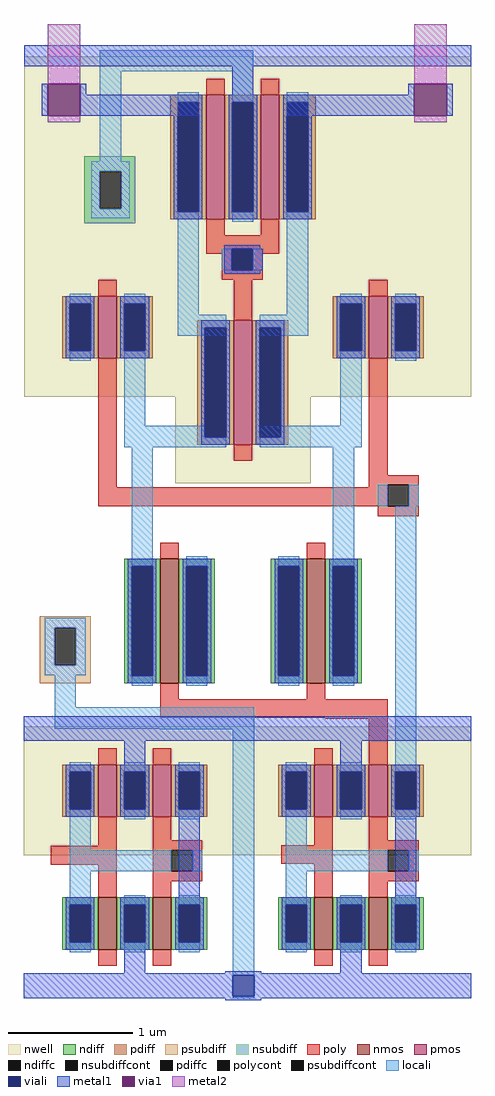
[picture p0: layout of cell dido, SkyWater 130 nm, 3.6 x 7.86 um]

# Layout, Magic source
magic
tech sky130A
magscale 1 2
<< nwell >>
rect -199 0 0 324
rect 19 0 262 1
rect 306 0 521 324
rect -199 -224 -174 0
rect 44 -39 262 0
rect 44 -208 46 -39
rect 480 -224 521 0
rect -200 -962 -174 -754
rect 132 -962 174 -754
rect 480 -962 521 -754
<< psubdiff >>
rect -174 -596 -92 -577
rect -174 -656 -150 -596
rect -116 -656 -92 -596
rect -174 -685 -92 -656
<< nsubdiff >>
rect -102 139 -20 163
rect -102 79 -77 139
rect -43 79 -20 139
rect -102 55 -20 79
<< psubdiffcont >>
rect -150 -656 -116 -596
<< nsubdiffcont >>
rect -77 79 -43 139
<< poly >>
rect 94 14 212 36
rect 94 6 135 14
rect 119 -20 135 6
rect 169 6 212 14
rect 169 -20 185 6
rect 119 -36 185 -20
rect 138 -75 168 -36
rect -80 -370 -50 -188
rect 356 -350 386 -162
rect 356 -366 436 -350
rect 356 -370 386 -366
rect -80 -400 386 -370
rect 420 -400 436 -366
rect 370 -416 436 -400
rect 20 -741 386 -711
rect 286 -742 386 -741
rect 356 -790 386 -742
rect -80 -947 -50 -926
rect -156 -977 -50 -947
rect -80 -1004 -50 -977
rect 8 -938 38 -926
rect 8 -954 88 -938
rect 268 -946 298 -926
rect 8 -988 38 -954
rect 72 -988 88 -954
rect 215 -976 298 -946
rect 8 -1004 88 -988
rect 268 -1005 298 -976
rect 356 -938 386 -926
rect 356 -954 436 -938
rect 356 -988 386 -954
rect 420 -988 436 -954
rect 356 -1004 436 -988
<< polycont >>
rect 135 -20 169 14
rect 386 -400 420 -366
rect 38 -988 72 -954
rect 386 -988 420 -954
<< locali >>
rect -77 300 170 334
rect -77 155 -43 300
rect 136 266 170 300
rect -91 139 -29 155
rect -91 79 -77 139
rect -43 79 -29 139
rect -91 63 -29 79
rect 48 -92 82 58
rect 119 -20 135 14
rect 169 -20 185 14
rect 224 -92 258 58
rect 48 -126 126 -92
rect 180 -126 258 -92
rect -38 -271 -4 -166
rect 310 -271 344 -166
rect -38 -305 92 -271
rect 180 -305 344 -271
rect -26 -481 8 -305
rect 298 -481 332 -305
rect 370 -400 386 -366
rect 420 -400 436 -366
rect -166 -596 -100 -580
rect -166 -656 -150 -596
rect -116 -656 -100 -596
rect -166 -672 -100 -656
rect -150 -724 -116 -672
rect -150 -758 171 -724
rect 20 -759 171 -758
rect -126 -954 -92 -904
rect -126 -988 38 -954
rect 72 -988 88 -954
rect -126 -1026 -92 -988
rect 137 -1155 171 -759
rect 398 -812 432 -400
rect 222 -954 256 -904
rect 222 -988 386 -954
rect 420 -988 436 -954
rect 222 -1026 256 -988
rect 137 -1192 171 -1189
<< viali >>
rect 135 -20 169 14
rect 137 -1189 171 -1155
<< metal1 >>
rect -199 308 521 342
rect -171 228 -161 280
rect -109 262 -99 280
rect 136 262 170 308
rect 419 262 429 280
rect -109 228 82 262
rect 224 228 429 262
rect 481 228 491 280
rect 123 14 181 20
rect 123 -20 135 14
rect 169 -20 185 14
rect 123 -26 181 -20
rect -200 -778 521 -738
rect -38 -816 -4 -778
rect 310 -816 344 -778
rect 50 -1030 84 -900
rect 398 -1030 432 -900
rect -38 -1152 -4 -1102
rect 125 -1152 183 -1149
rect 310 -1152 344 -1102
rect -200 -1155 521 -1152
rect -200 -1189 137 -1155
rect 171 -1189 521 -1155
rect -200 -1192 521 -1189
rect 125 -1195 183 -1192
<< via1 >>
rect -161 228 -109 280
rect 429 228 481 280
<< metal2 >>
rect -161 280 -109 376
rect -161 218 -109 228
rect 429 280 481 376
rect 429 218 481 228
use sky130_fd_pr__pfet_01v8_5SMHNA  m1
transform -1 0 109 0 1 162
box -109 -162 109 162
use sky130_fd_pr__pfet_01v8_523TXA  m4
transform 1 0 -65 0 1 -112
box -109 -112 109 112
use sky130_fd_pr__pfet_01v8_523TXA  m5
transform -1 0 371 0 1 -112
box -109 -112 109 112
use sky130_fd_pr__nfet_01v8_L8ATA9  m6
transform -1 0 35 0 1 -585
box -73 -126 73 126
use sky130_fd_pr__nfet_01v8_L8ATA9  m7
transform 1 0 271 0 1 -585
box -73 -126 73 126
use sky130_fd_pr__nfet_01v8_A6LSUL  m8 ~/Desktop/FabRAM/FE/sram130/common
transform -1 0 -65 0 1 -1072
box -73 -68 73 68
use sky130_fd_pr__pfet_01v8_4Y88KP  m9 ~/Desktop/FabRAM/FE/sram130/common
transform -1 0 -65 0 1 -858
box -109 -104 109 104
use sky130_fd_pr__pfet_01v8_4Y88KP  m10
transform 1 0 23 0 1 -858
box -109 -104 109 104
use sky130_fd_pr__nfet_01v8_A6LSUL  m11
transform 1 0 23 0 1 -1072
box -73 -68 73 68
use sky130_fd_pr__nfet_01v8_A6LSUL  m12
transform -1 0 283 0 1 -1072
box -73 -68 73 68
use sky130_fd_pr__pfet_01v8_4Y88KP  m13
transform -1 0 283 0 1 -858
box -109 -104 109 104
use sky130_fd_pr__pfet_01v8_4Y88KP  m14
transform 1 0 371 0 1 -858
box -109 -104 109 104
use sky130_fd_pr__nfet_01v8_A6LSUL  m15
transform 1 0 371 0 1 -1072
box -73 -68 73 68
use sky130_fd_pr__pfet_01v8_5SMHNA  sky130_fd_pr__pfet_01v8_5SMHNA_0
transform 1 0 197 0 1 162
box -109 -162 109 162
use sky130_fd_pr__pfet_01v8_5SMHNA  sky130_fd_pr__pfet_01v8_5SMHNA_1
transform 1 0 153 0 1 -201
box -109 -162 109 162
<< end >>

# cell sky130_fd_pr__pfet_01v8_5SMHNA: kit device sky130_fd_pr__pfet_01v8, w 1 l 0.15 m 1 nf 1 diffcov 100 polycov 100 guard 0 glc 0 grc 0 gtc 0 gbc 0 tbcov 100 rlcov 100 topc 0 botc 0 poverlap 0 doverlap 0 lmin 0.15 wmin 0.42 compatible {sky130_fd_pr__pfet_01v8 sky130_fd_pr__pfet_01v8_lvt sky130_fd_pr__pfet_01v8_hvt sky130_fd_pr__pfet_g5v0d10v5} full_metal 0 viasrc 100 viadrn 100 viagate 100 viagb 0 viagr 0 viagl 0 viagt 0

# cell sky130_fd_pr__pfet_01v8_523TXA: kit device sky130_fd_pr__pfet_01v8, w 0.5 l 0.15 m 1 nf 1 diffcov 100 polycov 100 guard 0 glc 0 grc 0 gtc 0 gbc 0 tbcov 100 rlcov 100 topc 0 botc 0 poverlap 0 doverlap 0 lmin 0.15 wmin 0.42 compatible {sky130_fd_pr__pfet_01v8 sky130_fd_pr__pfet_01v8_lvt sky130_fd_pr__pfet_01v8_hvt sky130_fd_pr__pfet_g5v0d10v5} full_metal 0 viasrc 100 viadrn 100 viagate 100 viagb 0 viagr 0 viagl 0 viagt 0

# cell sky130_fd_pr__nfet_01v8_L8ATA9: kit device sky130_fd_pr__nfet_01v8, w 1 l 0.150 m 1 nf 1 diffcov 100 polycov 100 guard 0 glc 0 grc 0 gtc 0 gbc 0 tbcov 100 rlcov 100 topc 0 botc 0 poverlap 0 doverlap 0 lmin 0.15 wmin 0.42 compatible {sky130_fd_pr__nfet_01v8 sky130_fd_pr__nfet_01v8_lvt sky130_fd_bs_flash__special_sonosfet_star sky130_fd_pr__nfet_g5v0d10v5 sky130_fd_pr__nfet_05v0_nvt sky130_fd_pr__nfet_03v3_nvt} full_metal 0 viasrc 100 viadrn 100 viagate 100 viagb 0 viagr 0 viagl 0 viagt 0

# cell sky130_fd_pr__nfet_01v8_A6LSUL: kit device sky130_fd_pr__nfet_01v8, w 0.420 l 0.150 m 1 nf 1 diffcov 100 polycov 100 guard 0 glc 0 grc 0 gtc 0 gbc 0 tbcov 100 rlcov 100 topc 0 botc 0 poverlap 0 doverlap 0 lmin 0.15 wmin 0.42 compatible {sky130_fd_pr__nfet_01v8 sky130_fd_pr__nfet_01v8_lvt sky130_fd_bs_flash__special_sonosfet_star sky130_fd_pr__nfet_g5v0d10v5 sky130_fd_pr__nfet_05v0_nvt sky130_fd_pr__nfet_03v3_nvt} full_metal 0 viasrc 100 viadrn 100 viagate 100 viagb 0 viagr 0 viagl 0 viagt 0

# cell sky130_fd_pr__pfet_01v8_4Y88KP: kit device sky130_fd_pr__pfet_01v8, w 0.42 l 0.15 m 1 nf 1 diffcov 100 polycov 100 guard 0 glc 0 grc 0 gtc 0 gbc 0 tbcov 100 rlcov 100 topc 0 botc 0 poverlap 0 doverlap 0 lmin 0.15 wmin 0.42 compatible {sky130_fd_pr__pfet_01v8 sky130_fd_pr__pfet_01v8_lvt sky130_fd_pr__pfet_01v8_hvt sky130_fd_pr__pfet_g5v0d10v5} full_metal 0 viasrc 100 viadrn 100 viagate 100 viagb 0 viagr 0 viagl 0 viagt 0
